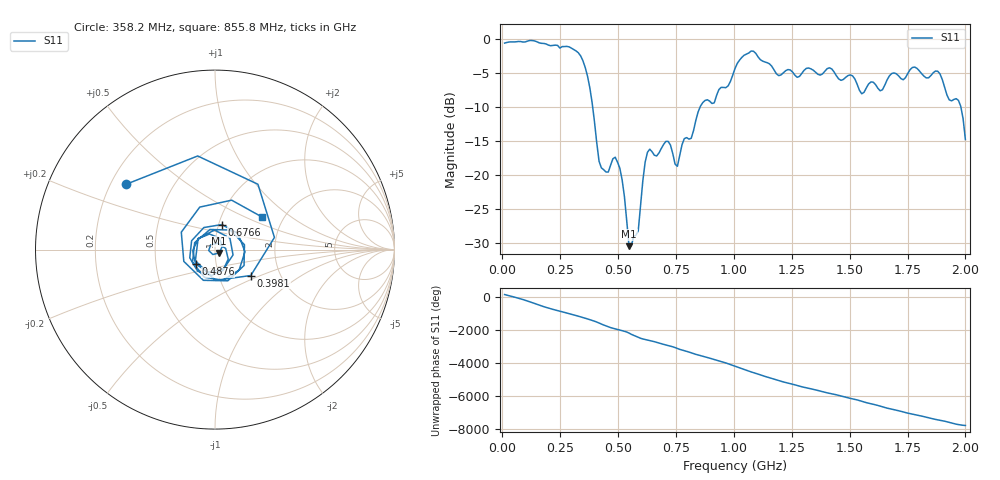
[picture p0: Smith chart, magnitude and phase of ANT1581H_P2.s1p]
!Created with skrf (http://scikit-rf.org).
# Hz S RI R 50.0
!freq ReS11 ImS11
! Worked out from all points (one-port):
!   201 points, 10 MHz to 2 GHz, reference 50 ohm
!   lowest |S11| = -30.5 dB at 547.3 MHz (marker M1), VSWR 1.06, Z = 52.4 - j1.92 ohm
!   |S11| at or under -10 dB: 390.2 MHz to 854.7 MHz (464.5 MHz wide, 74.6 % of centre); 1.98 GHz to end of sweep
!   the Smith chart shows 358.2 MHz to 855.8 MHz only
!   S11 on the Smith chart (normalised r, x): 358.2 MHz: 0.26, +0.31; 398.1 MHz: 1.42, -0.44; 487.6 MHz: 0.80, -0.13; 676.6 MHz: 1.04, +0.30; 855.8 MHz: 1.56, +0.63
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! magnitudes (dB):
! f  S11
! 10 MHz  -0.6
! 258.8 MHz  -1.1
! 358.2 MHz  -4.2
! 398.1 MHz  -12.2
! 427.9 MHz  -19.0
! 487.6 MHz  -17.4
! 507.5 MHz  -19.0
! 527.4 MHz  -23.2
! 547.3 MHz  -30.5
! 587.1 MHz  -28.2
! 607 MHz  -20.9
! 626.9 MHz  -16.7
! 676.6 MHz  -16.8
! 716.5 MHz  -15.1
! 756.2 MHz  -18.7
! 855.8 MHz  -9.9
! 915.5 MHz  -9.4
! 1.005 GHz  -4.4
! 1.075 GHz  -1.8
! 1.194 GHz  -5.4
! 1.254 GHz  -4.9
! 1.502 GHz  -5.3
! 1.552 GHz  -8.1
! 1.751 GHz  -5.1
! 1.881 GHz  -4.8
! 1.93 GHz  -9.0
! 1.97 GHz  -9.1
! 2 GHz  -14.8
